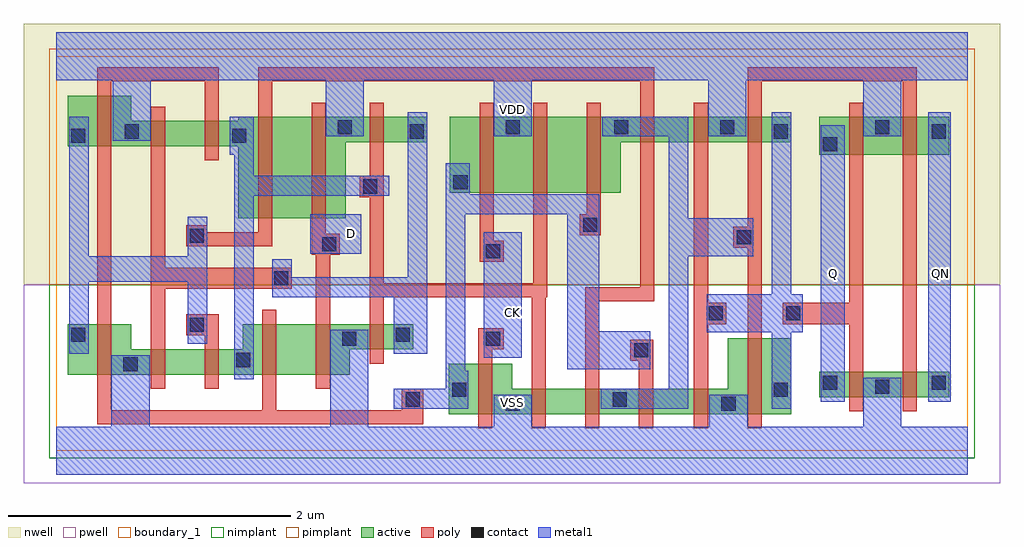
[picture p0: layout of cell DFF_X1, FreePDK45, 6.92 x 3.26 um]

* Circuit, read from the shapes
.subckt DFF_X1 CK D Q QN VDD VSS
M1 VSS n1 n2 VSUBS nfet w=0.36u l=0.1u
M2 n3 n4 VSS VSUBS nfet w=0.18u l=0.1u
M3 n5 n2 n3 VSUBS nfet w=0.18u l=0.1u
M4 n6 n1 n5 VSUBS nfet w=0.36u l=0.1u
M5 VSS D n6 VSUBS nfet w=0.36u l=0.1u
M6 n4 n5 VSS VSUBS nfet w=0.18u l=0.1u
M7 VSS CK n1 VSUBS nfet w=0.36u l=0.1u
M8 n7 n5 VSS VSUBS nfet w=0.18u l=0.1u
M9 n8 n2 n7 VSUBS nfet w=0.18u l=0.1u
M10 n9 n1 n8 VSUBS nfet w=0.18u l=0.1u
M11 VSS n10 n9 VSUBS nfet w=0.18u l=0.1u
M12 n10 n8 VSS VSUBS nfet w=0.54u l=0.1u
M13 VSS n10 Q VSUBS nfet w=0.18u l=0.1u
M14 QN n8 VSS VSUBS nfet w=0.18u l=0.1u
M15 VDD n1 n2 n11 pfet w=0.36u l=0.1u
M16 n12 n4 VDD n11 pfet w=0.18u l=0.1u
M17 n5 n1 n12 n11 pfet w=0.18u l=0.1u
M18 n13 n2 n5 n11 pfet w=0.72u l=0.1u
M19 VDD D n13 n11 pfet w=0.72u l=0.1u
M20 n4 n5 VDD n11 pfet w=0.18u l=0.1u
M21 VDD CK n1 n11 pfet w=0.54u l=0.1u
M22 n14 n5 VDD n11 pfet w=0.54u l=0.1u
M23 n8 n1 n14 n11 pfet w=0.54u l=0.1u
M24 n15 n2 n8 n11 pfet w=0.18u l=0.1u
M25 VDD n10 n15 n11 pfet w=0.18u l=0.1u
M26 n10 n8 VDD n11 pfet w=0.18u l=0.1u
M27 VDD n10 Q n11 pfet w=0.27u l=0.1u
M28 QN n8 VDD n11 pfet w=0.27u l=0.1u
.ends

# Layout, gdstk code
import gdstk
lib = gdstk.Library(unit=1e-6, precision=1e-09)
def R(c, l, rs):  # rectangles x0, y0, x1, y1
    for r in rs: c.add(gdstk.rectangle(r[:2], r[2:], *l))
def P(c, l, *ps):  # polygons
    for p in ps: c.add(gdstk.Polygon(p, *l))
active = (1, 0)
pwell = (2, 0)
nwell = (3, 0)
nimplant = (4, 0)
pimplant = (5, 0)
poly = (9, 0)
contact = (10, 0)
metal1 = (11, 0)
boundary_1 = (235, 1)

dff_x1 = lib.new_cell('DFF_X1')
R(dff_x1, active, [(5.41,0.38,6.33,0.56), (5.41,2.1,6.33,2.37)])
P(dff_x1, active, [(2.79,1.83),(4,1.83),(4,2.19),(5.21,2.19),(5.21,2.37),(2.79,2.37)],
  [(2.78,0.26),(5.21,0.26),(5.21,0.8),(4.76,0.8),(4.76,0.44),(3.23,0.44),(3.23,0.62),(2.78,0.62)],
  [(0.08,2.16),(1.29,2.16),(1.29,1.65),(2.05,1.65),(2.05,2.19),(2.63,2.19),(2.63,2.37),(1.29,2.37),(1.29,2.34),(0.53,2.34),(0.53,2.52),(0.08,2.52)],
  [(0.08,0.54),(2.08,0.54),(2.08,0.72),(2.53,0.72),(2.53,0.9),(1.32,0.9),(1.32,0.72),(0.53,0.72),(0.53,0.9),(0.08,0.9)])
R(dff_x1, pwell, [(-0.23,-0.23,6.69,1.18)])
R(dff_x1, nwell, [(-0.23,1.18,6.69,3.03)])
R(dff_x1, nimplant, [(-0.05,-0.05,6.51,1.18)])
R(dff_x1, pimplant, [(-0.05,1.18,6.51,2.85)])
P(dff_x1, poly, [(4.8,1.44),(4.9,1.44),(4.9,0.16),(5,0.16),(5,2.62),(6,2.62),(6,0.28),(6.1,0.28),(6.1,2.72),(4.9,2.72),(4.9,1.59),(4.8,1.59)],
  [(5.15,0.9),(5.62,0.9),(5.62,0.28),(5.72,0.28),(5.72,2.47),(5.62,2.47),(5.62,1.05),(5.15,1.05)],
  [(4.52,0.16),(4.62,0.16),(4.62,0.9),(4.75,0.9),(4.75,1.05),(4.62,1.05),(4.62,2.47),(4.52,2.47)],
  [(0.92,1.45),(1.53,1.45),(1.53,2.62),(4.14,2.62),(4.14,1.16),(3.75,1.16),(3.75,0.16),(3.85,0.16),(3.85,1.06),(4.24,1.06),(4.24,2.72),(1.43,2.72),(1.43,1.55),(1.07,1.55),(1.07,1.6),(0.92,1.6)],
  [(4.07,0.64),(4.13,0.64),(4.13,0.16),(4.23,0.16),(4.23,0.79),(4.07,0.79)],
  [(3.71,1.53),(3.86,1.53),(3.86,2.47),(3.76,2.47),(3.76,1.68),(3.71,1.68)],
  [(2.15,1.8),(2.22,1.8),(2.22,0.62),(2.32,0.62),(2.32,1.09),(3.37,1.09),(3.37,0.16),(3.47,0.16),(3.47,1.09),(3.48,1.09),(3.48,2.47),(3.38,2.47),(3.38,1.19),(2.32,1.19),(2.32,2.47),(2.22,2.47),(2.22,1.95),(2.15,1.95)],
  [(3,1.34),(3.17,1.34),(3.17,1.49),(3.1,1.49),(3.1,2.47),(3,2.47)],
  [(2.99,0.16),(3.09,0.16),(3.09,0.72),(3.17,0.72),(3.17,0.87),(2.99,0.87)],
  [(0.29,0.19),(2.6,0.19),(2.6,0.44),(2.45,0.44),(2.45,0.29),(1.56,0.29),(1.56,1),(1.46,1),(1.46,0.29),(0.39,0.29),(0.39,2.62),(1.05,2.62),(1.05,2.06),(1.15,2.06),(1.15,2.72),(0.29,2.72)],
  [(1.81,1.39),(1.84,1.39),(1.84,0.44),(1.94,0.44),(1.94,1.39),(2.01,1.39),(2.01,1.54),(1.91,1.54),(1.91,2.47),(1.81,2.47)],
  [(0.67,0.44),(0.77,0.44),(0.77,1.15),(1.67,1.15),(1.67,1.3),(0.77,1.3),(0.77,2.44),(0.67,2.44)],
  [(0.92,0.82),(1.05,0.82),(1.05,0.44),(1.15,0.44),(1.15,0.97),(0.92,0.97)])
R(dff_x1, contact, [(3.185,0.285,3.285,0.385), (4.715,0.285,4.815,0.385), (2.475,0.315,2.575,0.415), (3.945,0.315,4.045,0.415), (2.805,0.385,2.905,0.485), (5.085,0.385,5.185,0.485), (5.805,0.405,5.905,0.505), (5.435,0.435,5.535,0.535), (6.205,0.435,6.305,0.535), (0.475,0.565,0.575,0.665), (1.275,0.595,1.375,0.695), (4.095,0.665,4.195,0.765), (2.025,0.745,2.125,0.845), (3.045,0.745,3.145,0.845), (0.105,0.775,0.205,0.875), (2.405,0.775,2.505,0.875), (0.945,0.845,1.045,0.945), (4.625,0.925,4.725,1.025), (5.175,0.925,5.275,1.025), (1.545,1.175,1.645,1.275), (3.045,1.365,3.145,1.465), (1.885,1.415,1.985,1.515), (4.825,1.465,4.925,1.565), (0.945,1.475,1.045,1.575), (3.735,1.555,3.835,1.655), (2.175,1.825,2.275,1.925), (2.815,1.855,2.915,1.955), (5.435,2.125,5.535,2.225), (0.105,2.185,0.205,2.285), (1.245,2.185,1.345,2.285), (0.485,2.215,0.585,2.315), (2.505,2.215,2.605,2.315), (5.085,2.215,5.185,2.315), (6.205,2.215,6.305,2.315), (1.995,2.245,2.095,2.345), (3.185,2.245,3.285,2.345), (3.955,2.245,4.055,2.345), (4.705,2.245,4.805,2.345), (5.805,2.245,5.905,2.345)])
R(dff_x1, metal1, [(5.42,0.35,5.59,2.31), (5.42,0.35,5.59,2.31), (6.18,0.35,6.34,2.4), (6.18,0.35,6.34,2.4), (3.03,0.66,3.3,1.55), (3.03,0.66,3.3,1.55), (1.8,1.4,2.16,1.68), (1.8,1.4,2.16,1.68)])
P(dff_x1, metal1, [(0,-0.17),(6.46,-0.17),(6.46,0.17),(5.99,0.17),(5.99,0.52),(5.72,0.52),(5.72,0.17),(4.9,0.17),(4.9,0.4),(4.63,0.4),(4.63,0.17),(3.37,0.17),(3.37,0.4),(3.1,0.4),(3.1,0.17),(2.21,0.17),(2.21,0.86),(1.94,0.86),(1.94,0.17),(0.66,0.17),(0.66,0.68),(0.39,0.68),(0.39,0.17),(0,0.17)],
  [(0,2.63),(0.4,2.63),(0.4,2.2),(0.67,2.2),(0.67,2.63),(1.91,2.63),(1.91,2.23),(2.18,2.23),(2.18,2.63),(3.1,2.63),(3.1,2.23),(3.37,2.23),(3.37,2.63),(4.62,2.63),(4.62,2.23),(4.89,2.23),(4.89,2.63),(5.72,2.63),(5.72,2.23),(5.99,2.23),(5.99,2.63),(6.46,2.63),(6.46,2.97),(0,2.97)],
  [(0,2.63),(0.4,2.63),(0.4,2.2),(0.67,2.2),(0.67,2.63),(1.91,2.63),(1.91,2.23),(2.18,2.23),(2.18,2.63),(3.1,2.63),(3.1,2.23),(3.37,2.23),(3.37,2.63),(4.62,2.63),(4.62,2.23),(4.89,2.23),(4.89,2.63),(5.72,2.63),(5.72,2.23),(5.99,2.23),(5.99,2.63),(6.46,2.63),(6.46,2.97),(0,2.97)],
  [(0,-0.17),(6.46,-0.17),(6.46,0.17),(5.99,0.17),(5.99,0.52),(5.72,0.52),(5.72,0.17),(4.9,0.17),(4.9,0.4),(4.63,0.4),(4.63,0.17),(3.37,0.17),(3.37,0.4),(3.1,0.4),(3.1,0.17),(2.21,0.17),(2.21,0.86),(1.94,0.86),(1.94,0.17),(0.66,0.17),(0.66,0.68),(0.39,0.68),(0.39,0.17),(0,0.17)],
  [(4.61,0.84),(5.07,0.84),(5.07,0.3),(5.21,0.3),(5.21,0.84),(5.29,0.84),(5.29,1.11),(5.21,1.11),(5.21,2.4),(5.07,2.4),(5.07,1.11),(4.61,1.11)],
  [(3.87,2.23),(4.34,2.23),(4.34,0.44),(3.86,0.44),(3.86,0.3),(4.48,0.3),(4.48,1.38),(4.94,1.38),(4.94,1.65),(4.48,1.65),(4.48,2.37),(3.87,2.37)],
  [(2.9,1.68),(3.62,1.68),(3.62,0.58),(4.21,0.58),(4.21,0.85),(3.85,0.85),(3.85,1.82),(2.93,1.82),(2.93,2.04),(2.76,2.04),(2.76,0.44),(2.39,0.44),(2.39,0.3),(2.92,0.3),(2.92,0.57),(2.9,0.57)],
  [(1.53,1.09),(2.39,1.09),(2.39,0.69),(2.63,0.69),(2.63,2.4),(2.49,2.4),(2.49,1.23),(1.67,1.23),(1.67,1.36),(1.53,1.36)],
  [(1.23,2.1),(1.26,2.1),(1.26,0.51),(1.4,0.51),(1.4,1.81),(2.36,1.81),(2.36,1.95),(1.4,1.95),(1.4,2.37),(1.23,2.37)],
  [(0.09,0.69),(0.23,0.69),(0.23,1.2),(0.93,1.2),(0.93,0.76),(1.07,0.76),(1.07,1.66),(0.93,1.66),(0.93,1.38),(0.23,1.38),(0.23,2.37),(0.09,2.37)])
R(dff_x1, boundary_1, [(0,0,6.46,2.8)])
dff_x1.add(gdstk.Label('VSS', (3.23,0.345), layer=11, texttype=0))
dff_x1.add(gdstk.Label('VDD', (3.23,2.42), layer=11, texttype=0))
dff_x1.add(gdstk.Label('QN', (6.27,1.26), layer=11, texttype=0))
dff_x1.add(gdstk.Label('Q', (5.51,1.26), layer=11, texttype=0))
dff_x1.add(gdstk.Label('D', (2.09,1.54), layer=11, texttype=0))
dff_x1.add(gdstk.Label('CK', (3.23,0.98), layer=11, texttype=0))

lib.write_gds('DFF_X1.gds')
